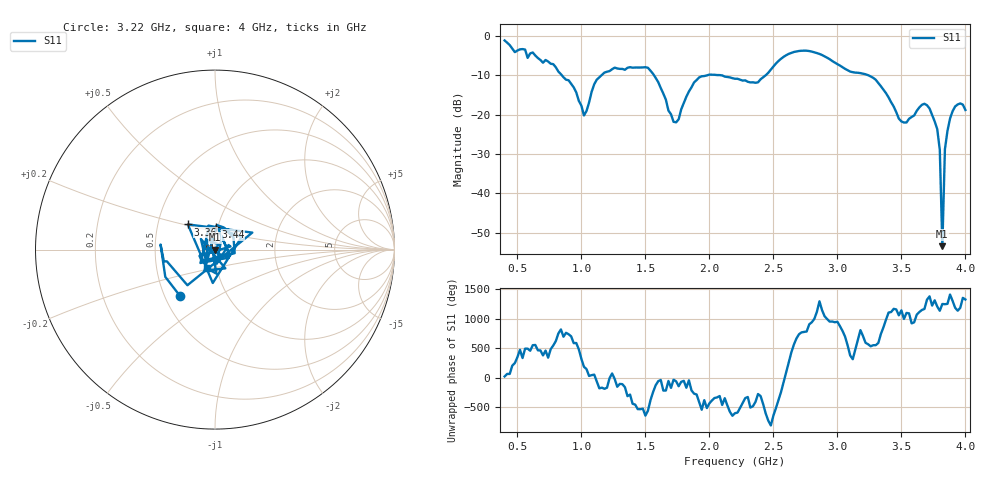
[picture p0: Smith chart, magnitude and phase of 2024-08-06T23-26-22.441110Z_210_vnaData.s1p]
!Created with skrf (http://scikit-rf.org).
# Hz S RI R 50.0
!freq ReS11 ImS11
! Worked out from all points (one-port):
!   181 points, 400 MHz to 4 GHz, reference 50 ohm
!   lowest |S11| = -53.4 dB at 3.82 GHz (marker M1), VSWR 1.00, Z = 49.8 + j0.0365 ohm
!   |S11| at or under -10 dB: 1.566 GHz to 1.987 GHz (420.2 MHz wide, 23.7 % of centre); 2.084 GHz to 2.441 GHz (356.8 MHz wide, 15.8 % of centre); 3.239 GHz to end of sweep (the widest 3 of 4)
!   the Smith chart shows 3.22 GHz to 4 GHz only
!   S11 on the Smith chart (normalised r, x): 3.22 GHz: 0.60, -0.35; 3.36 GHz: 0.71, +0.21; 3.44 GHz: 0.98, +0.25; 4 GHz: 0.89, -0.19
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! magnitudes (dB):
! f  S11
! 400 MHz  -1.2
! 860 MHz  -10.5
! 940 MHz  -13.1
! 1.02 GHz  -20.2
! 1.12 GHz  -11.1
! 1.3 GHz  -8.4
! 1.52 GHz  -8.1
! 1.6 GHz  -11.8
! 1.72 GHz  -21.8
! 1.76 GHz  -21.2
! 1.92 GHz  -10.6
! 2.2 GHz  -10.9
! 2.38 GHz  -11.8
! 2.66 GHz  -4.1
! 3.1 GHz  -9.1
! 3.22 GHz  -9.8
! 3.36 GHz  -13.7
! 3.44 GHz  -18.0
! 3.5 GHz  -21.7
! 3.56 GHz  -21.1
! 3.68 GHz  -17.3
! 3.78 GHz  -23.7
! 3.8 GHz  -28.9
! 3.82 GHz  -53.4
! 3.84 GHz  -28.8
! 3.86 GHz  -24.1
! 3.92 GHz  -17.9
! 4 GHz  -18.8
